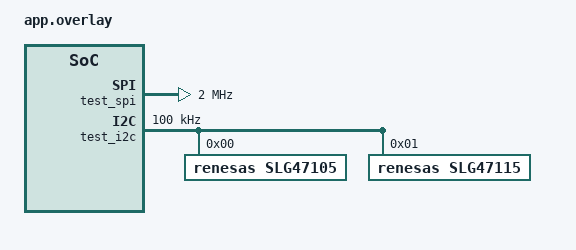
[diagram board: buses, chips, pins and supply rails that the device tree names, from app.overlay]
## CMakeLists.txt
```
# SPDX-License-Identifier: Apache-2.0

cmake_minimum_required(VERSION 3.28.0)
find_package(Zephyr REQUIRED HINTS $ENV{ZEPHYR_BASE})
project(build_all)

zephyr_include_directories(src)

FILE(GLOB app_sources src/*.c)
target_sources(app PRIVATE ${app_sources})
```

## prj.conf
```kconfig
CONFIG_TEST=y
CONFIG_TEST_USERSPACE=y
CONFIG_LOG=y
CONFIG_SYS_CLOCK_TICKS_PER_SEC=1000
CONFIG_GPIO=y
CONFIG_SPI=y
CONFIG_FPGA=y
# Must disable pinctrl here because otherwise there is an error in
# fpga_ice40.c here about the two nodes both declaring the same pinctrl data
# of the common spi-bus parent. That effectively limits the number of
# iCE40 FPGAs on a single bus to 1.
CONFIG_PINCTRL=n
CONFIG_ALTERA_AGILEX_BRIDGE_FPGA=y
CONFIG_MACHXO2_FPGA=y
CONFIG_FLASH=y
CONFIG_FLASH_MACHXO2_UFM=n
CONFIG_ARM_SIP_SVC_DRIVER=y
CONFIG_ARM_SIP_SVC_SUBSYS=y
CONFIG_ARM_SIP_SVC_SUBSYS_SINGLY_OPEN=y
CONFIG_HEAP_MEM_POOL_SIZE=16384
```

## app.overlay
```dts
/*
 * Copyright (c) 2020, Linaro Ltd.
 *
 * SPDX-License-Identifier: Apache-2.0
 *
 * Application overlay for testing driver builds
 *
 * Names in this file should be chosen in a way that won't conflict
 * with real-world devicetree nodes, to allow these tests to run on
 * (and be extended to test) real hardware.
 */

/ {
	test {
		#address-cells = <1>;
		#size-cells = <1>;

		test_spi: spi@33334444 {
			compatible = "vnd,spi";
			reg = <0x33334444 0x1000>;
			#address-cells = <1>;
			#size-cells = <0>;
			clock-frequency = <2000000>;

			/* one entry for every devices at spi.dtsi */
			cs-gpios = <&test_gpio 0 0>,    /* 0x00 */
				   <&test_gpio 0 0>,    /* 0x01 */
				   <&test_gpio 0 0>,    /* 0x02 */
				   <&test_gpio 0 0>,    /* 0x03 */
				   <&test_gpio 0 0>;    /* 0x04 */
			status = "okay";

#include "spi.dtsi"
		};

		test_i2c: i2c@11112222 {
			compatible = "vnd,i2c";
			reg = <0x11112222 0x1000>;
			#address-cells = <1>;
			#size-cells = <0>;
			clock-frequency = <100000>;
			status = "okay";

			slg47105@0 {
				compatible = "renesas,slg47105";
				reg = <0x00>;
				status = "okay";
			};

			slg47115@1 {
				compatible = "renesas,slg47115";
				reg = <0x01>;
				status = "okay";
			};
		};

		test_gpio: gpio@deadbeef {
			compatible = "vnd,gpio";
			reg = <0xdeadbeef 0x1000>;
			gpio-controller;
			#gpio-cells = <0x2>;
			status = "okay";
		};
	};

	fpga0: bridges {
		compatible = "altr,socfpga-agilex-bridge";
		status = "okay";
	};

	sip_smc: smc {
		compatible = "intel,socfpga-agilex-sip-smc";
		method = "smc";
		zephyr,num-clients = <2>;
		status = "okay";
	};
};

/* Put device specific modifications to properties or disabling of devices
 * here to keep the bus specific dtsi files (i2c.dtsi, spi.dtsi, etc..)
 * pristine
 */
```

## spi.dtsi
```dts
/*
 * Copyright (c) 2020, Linaro Ltd.
 *
 * SPDX-License-Identifier: Apache-2.0
 *
 * Application overlay for spi devices
 */

test_spi_fpga_ice40_gpio: ice40@0 {
	compatible = "lattice,ice40-fpga-bitbang";

	reg = <0>;
	spi-max-frequency = <1000000>;

	cdone-gpios = <&test_gpio 0 0>;
	creset-gpios = <&test_gpio 0 0>;
	clk-gpios = <&test_gpio 0 0>;
	pico-gpios = <&test_gpio 0 0>;
	gpios-set-reg = <0>;
	gpios-clear-reg = <0>;
	config-delay-us = <3900>;
	status = "okay";
};

test_spi_fpga_ice40_spi: ice40@1 {
	compatible = "lattice,ice40-fpga";

	reg = <1>;
	spi-max-frequency = <1000000>;

	cdone-gpios = <&test_gpio 0 0>;
	creset-gpios = <&test_gpio 0 0>;
	config-delay-us = <3900>;
	status = "okay";
};

test_spi_fpga_slg47910: slg47910@2 {
	compatible = "renesas,slg47910";

	reg = <2>;
	spi-max-frequency = <1000000>;

	pwr-gpios = <&test_gpio 0 0>;
	en-gpios = <&test_gpio 0 0>;
	ss-gpios = <&test_gpio 0 0>;
	status = "okay";
};

test_spi_fpga_machxo2: machxo2@3 {
	compatible = "lattice,machxo2-fpga";

	reg = <3>;
	spi-max-frequency = <1000000>;

	reset-gpios = <&test_gpio 0 0>;
	done-gpios = <&test_gpio 0 0>;
	initn-gpios = <&test_gpio 0 0>;
	status = "okay";

	ufm: ufm {
		compatible = "lattice,machxo2-ufm";
		size = <512>;
		write-block-size = <16>;

		partitions {
			compatible = "fixed-partitions";
			#address-cells = <1>;
			#size-cells = <1>;

			/* The UFM has one erase sector; only a full-size partition is erasable. */
			machxo2_storage_partition: partition@0 {
				label = "storage";
				reg = <0x0 0x200>;
			};
		};
	};
};

test_spi_fpga_machxo2_min: machxo2@4 {
	compatible = "lattice,machxo2-fpga";

	reg = <4>;
	spi-max-frequency = <1000000>;
	status = "okay";
};
```

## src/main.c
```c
/*
 * Copyright (c) 2012-2014 Wind River Systems, Inc.
 *
 * SPDX-License-Identifier: Apache-2.0
 */

void main(void)
{
}
```
